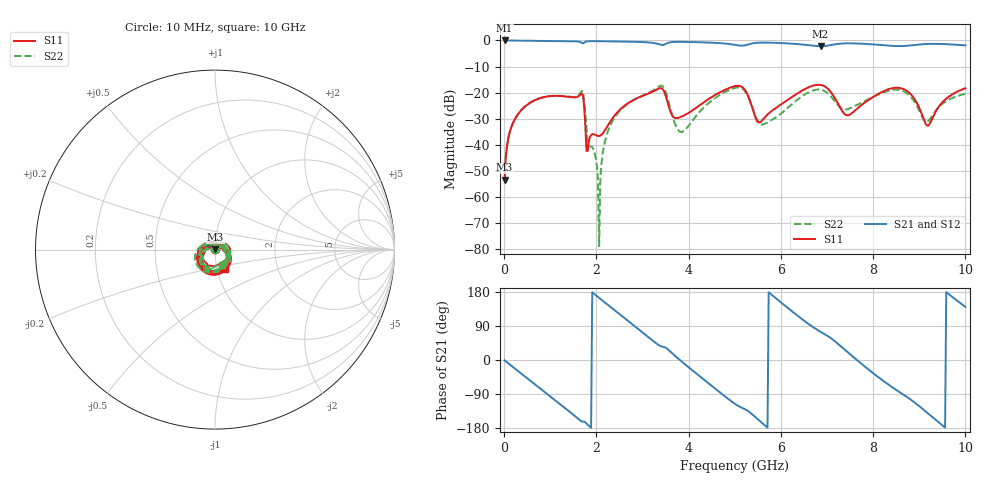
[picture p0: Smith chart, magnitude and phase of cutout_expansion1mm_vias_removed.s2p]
! Cutout equivalence validation - 38 mm 50 ohm symmetric stripline
! Case: Cutout, 1 mm expansion, stitching vias fall outside and are removed
! Solver: Ansys HFSS 3D Layout 2026 R1, broadband adaptive 1-5 GHz,
!  Delta S 0.02, interpolating sweep 10 MHz - 10 GHz
# GHz S MA R 50.000000
! Terminal data exported
! Port[1] = U1.PAD1.SIG
! Port[2] = U2.PAD1.SIG
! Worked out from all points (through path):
!   401 points, 10 MHz to 10 GHz, reference 50 ohm
!   highest |S21| = -0.01 dB at 10 MHz (marker M1); lowest = -2.2 dB at 6.86 GHz (marker M2)
!   group delay of S21, straight-line fit = 260 ps
!   lowest |S11| = -53.3 dB at 10 MHz (marker M3), VSWR 1.00, Z = 50.1 + j0.162 ohm
!   |S11| at or under -10 dB: start of sweep to end of sweep
!   |S22| runs from -78.9 to -17.3 dB; largest |S21 - S12| = 7e-13
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0.01  0.002152 48.8  0.9985 -1.0  0.9985 -1.0  0.002153 48.8
0.16  0.02224 65.1  0.9945 -15.6  0.9945 -15.6  0.02229 64.3
0.435  0.05253 43.1  0.9884 -42.1  0.9884 -42.1  0.05272 40.6
1.035  0.08615 -9.8  0.9762 -99.5  0.9762 -99.5  0.08666 -16.4
1.685  0.0965 -113.1  0.8982 -162.6  0.8982 -162.6  0.1084 -115.1
1.81  0.007577 11.0  0.9637 -170.7  0.9637 -170.7  0.01185 -165.8
2.06  0.01474 -14.8  0.9655 163.8  0.9655 163.8  0.0001141 167.9
2.185  0.01899 10.3  0.9627 151.6  0.9627 151.6  0.01158 51.2
2.36  0.03312 18.5  0.958 134.7  0.958 134.7  0.02956 34.1
2.86  0.07653 -14.9  0.9387 86.4  0.9387 86.4  0.07633 -18.0
3.36  0.1203 -99.0  0.844 38.6  0.844 38.6  0.1316 -103.5
3.835  0.03438 27.7  0.9391 -2.7  0.9391 -2.7  0.01763 79.1
4.46  0.0781 -9.1  0.9079 -64.3  0.9079 -64.3  0.06609 6.0
5.01  0.1334 -76.2  0.8212 -116.2  0.8212 -116.2  0.1232 -76.8
5.51  0.02701 84.8  0.9049 -157.6  0.9049 -157.6  0.02766 92.6
5.785  0.04341 3.0  0.9055 173.7  0.9055 173.7  0.02931 9.9
6.685  0.1349 -75.5  0.7937 87.8  0.7937 87.8  0.1087 -72.2
6.86  0.1402 -108.0  0.7734 74.6  0.7734 74.6  0.114 -109.1
7.61  0.04569 22.5  0.8766 3.8  0.8766 3.8  0.05578 21.1
8.335  0.1162 -62.4  0.794 -65.2  0.794 -65.2  0.1089 -61.2
9.185  0.02312 87.8  0.8577 -140.5  0.8577 -140.5  0.02794 75.6
10  0.1208 -62.4  0.8052 140.1  0.8052 140.1  0.09477 -64.3
